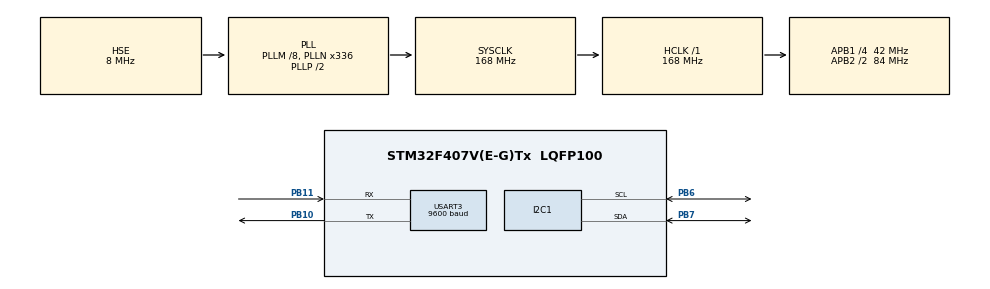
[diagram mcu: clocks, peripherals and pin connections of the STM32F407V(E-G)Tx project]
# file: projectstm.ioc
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Dma.I2C1_RX.0.Direction=DMA_PERIPH_TO_MEMORY
Dma.I2C1_RX.0.FIFOMode=DMA_FIFOMODE_DISABLE
Dma.I2C1_RX.0.Instance=DMA1_Stream0
Dma.I2C1_RX.0.MemDataAlignment=DMA_MDATAALIGN_BYTE
Dma.I2C1_RX.0.MemInc=DMA_MINC_ENABLE
Dma.I2C1_RX.0.Mode=DMA_NORMAL
Dma.I2C1_RX.0.PeriphDataAlignment=DMA_PDATAALIGN_BYTE
Dma.I2C1_RX.0.PeriphInc=DMA_PINC_DISABLE
Dma.I2C1_RX.0.Priority=DMA_PRIORITY_MEDIUM
Dma.I2C1_TX.1.Direction=DMA_MEMORY_TO_PERIPH
Dma.I2C1_TX.1.FIFOMode=DMA_FIFOMODE_DISABLE
Dma.I2C1_TX.1.Instance=DMA1_Stream6
Dma.I2C1_TX.1.MemDataAlignment=DMA_MDATAALIGN_BYTE
Dma.I2C1_TX.1.MemInc=DMA_MINC_ENABLE
Dma.I2C1_TX.1.Mode=DMA_NORMAL
Dma.I2C1_TX.1.PeriphDataAlignment=DMA_PDATAALIGN_BYTE
Dma.I2C1_TX.1.PeriphInc=DMA_PINC_DISABLE
Dma.I2C1_TX.1.Priority=DMA_PRIORITY_HIGH
Dma.Request0=I2C1_RX
Dma.Request1=I2C1_TX
Dma.Request2=USART3_TX
Dma.USART3_TX.2.Direction=DMA_MEMORY_TO_PERIPH
Dma.USART3_TX.2.FIFOMode=DMA_FIFOMODE_DISABLE
Dma.USART3_TX.2.Instance=DMA1_Stream3
Dma.USART3_TX.2.MemDataAlignment=DMA_MDATAALIGN_BYTE
Dma.USART3_TX.2.MemInc=DMA_MINC_ENABLE
Dma.USART3_TX.2.Mode=DMA_NORMAL
Dma.USART3_TX.2.PeriphDataAlignment=DMA_PDATAALIGN_BYTE
Dma.USART3_TX.2.PeriphInc=DMA_PINC_DISABLE
Dma.USART3_TX.2.Priority=DMA_PRIORITY_MEDIUM
I2C1.I2C_Mode=I2C_Fast
Mcu.Family=STM32F4
Mcu.Name=STM32F407V(E-G)Tx
Mcu.Package=LQFP100
NVIC.DMA1_Stream0_IRQn=true\:0\:0\:false\:false\:true\:false\:true\:true
NVIC.DMA1_Stream3_IRQn=true\:0\:0\:false\:false\:true\:false\:true\:true
NVIC.DMA1_Stream6_IRQn=true\:0\:0\:false\:false\:true\:false\:true\:true
NVIC.PriorityGroup=NVIC_PRIORITYGROUP_0
NVIC.TIM2_IRQn=true\:0\:0\:false\:false\:true\:true\:true\:true
PB10.Mode=Asynchronous
PB10.Signal=USART3_TX
PB11.Mode=Asynchronous
PB11.Signal=USART3_RX
PB6.Mode=I2C
PB6.Signal=I2C1_SCL
PB7.Mode=I2C
PB7.Signal=I2C1_SDA
PH0-OSC_IN.Mode=HSE-External-Oscillator
PH0-OSC_IN.Signal=RCC_OSC_IN
PH1-OSC_OUT.Mode=HSE-External-Oscillator
PH1-OSC_OUT.Signal=RCC_OSC_OUT
ProjectManager.HeapSize=0x200
ProjectManager.StackSize=0x400
ProjectManager.TargetToolchain=STM32CubeIDE
RCC.48MHZClocksFreq_Value=48000000
RCC.AHBFreq_Value=168000000
RCC.APB1CLKDivider=RCC_HCLK_DIV4
RCC.APB1Freq_Value=42000000
RCC.APB1TimFreq_Value=84000000
RCC.APB2CLKDivider=RCC_HCLK_DIV2
RCC.APB2Freq_Value=84000000
RCC.APB2TimFreq_Value=168000000
RCC.CortexFreq_Value=168000000
RCC.HCLKFreq_Value=168000000
RCC.HSE_VALUE=8000000
RCC.HSI_VALUE=16000000
RCC.LSE_VALUE=32768
RCC.PLLM=8
RCC.PLLN=336
RCC.PLLQ=7
RCC.PLLSourceVirtual=RCC_PLLSOURCE_HSE
RCC.SYSCLKFreq_VALUE=168000000
RCC.SYSCLKSource=RCC_SYSCLKSOURCE_PLLCLK
RCC.VCOOutputFreq_Value=336000000
TIM2.Period=99
TIM2.Prescaler=83999
USART3.BaudRate=9600
USART3.VirtualMode=VM_ASYNC
VP_TIM2_VS_ClockSourceINT.Mode=Internal
board=STM32F407G-DISC1

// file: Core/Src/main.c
/* USER CODE BEGIN Header */
/**
  ******************************************************************************
  * @file           : main.c
  * @brief          : Main program body
  ******************************************************************************
  * @attention
  *
  * <h2><center>&copy; Copyright (c) 2020 STMicroelectronics.
  * All rights reserved.</center></h2>
  *
  * This software component is licensed by ST under Ultimate Liberty license
  * SLA0044, the "License"; You may not use this file except in compliance with
  * the License. You may obtain a copy of the License at:
  *                             www.st.com/SLA0044
  *
  ******************************************************************************
  */
/* USER CODE END Header */

#include "main.h"

/* USER CODE BEGIN Includes */
#include "BMP180.h"
#include "ssd1306.h"
#include "stdio.h"

/* USER CODE END Includes */

I2C_HandleTypeDef hi2c1;
DMA_HandleTypeDef hdma_i2c1_rx;
DMA_HandleTypeDef hdma_i2c1_tx;

TIM_HandleTypeDef htim2;

UART_HandleTypeDef huart3;
DMA_HandleTypeDef hdma_usart3_tx;

/* USER CODE BEGIN PV */
volatile uint8_t read_sensor_flag = 0; // Flag to trigger sensor read
volatile uint8_t update_display_flag = 0; // Flag to trigger display update
volatile uint16_t timer_counter = 0; // Counter for timing tasks
// Timer interrupt callback
void HAL_TIM_PeriodElapsedCallback(TIM_HandleTypeDef *htim) {
    if (htim->Instance == TIM2) {
        timer_counter++;

        // Schedule sensor read every 100 ms
        if (timer_counter % 100 == 0) {
            read_sensor_flag = 1;
        }

        // Schedule display update every 500 ms
        if (timer_counter % 500 == 0) {
            update_display_flag = 1;
        }
    }
}

/* USER CODE END PV */

void SystemClock_Config(void);
static void MX_GPIO_Init(void);
static void MX_DMA_Init(void);
static void MX_I2C1_Init(void);
static void MX_USART3_UART_Init(void);
static void MX_TIM2_Init(void);

/* USER CODE BEGIN 0 */

float Temperature = 0;
float Pressure = 0;
float Altitude = 0;

char Temperature1[10];
char Pressure1[10];
char Altitude1[10];

/* USER CODE END 0 */

int main(void)
{

  /* MCU Configuration--------------------------------------------------------*/

  /* Reset of all peripherals, Initializes the Flash interface and the Systick. */
  HAL_Init();

  /* Configure the system clock */
  SystemClock_Config();

  /* Initialize all configured peripherals */
  MX_GPIO_Init();
  MX_DMA_Init();
  MX_I2C1_Init();
  MX_USART3_UART_Init();
  MX_TIM2_Init();
  /* USER CODE BEGIN 2 */
  HAL_TIM_Base_Start_IT(&htim2);

  BMP180_Start();

  SSD1306_Init();

  SSD1306_GotoXY (35,0);
  SSD1306_Puts ("BMP180", &Font_11x18, 1);
  SSD1306_GotoXY (10,20);
  SSD1306_Puts ("Barometric", &Font_11x18, 1);
  SSD1306_GotoXY (30,40);
  SSD1306_Puts ("Sensor", &Font_11x18, 1);
  SSD1306_GotoXY (20,40);
  SSD1306_UpdateScreen(); //display
  HAL_Delay(2000);
  SSD1306_Clear();

  /* USER CODE END 2 */

  /* Infinite loop */
  while (1) {

      /* USER CODE BEGIN 3 */

      // Check if sensor read is scheduled
      if (read_sensor_flag) {
          read_sensor_flag = 0; // Reset flag

          // Read sensor data
          Temperature = BMP180_GetTemp();
          Pressure = BMP180_GetPress(0);
          Altitude = BMP180_GetAlt(0);

          // Send data over UART using DMA
          char buffer[100];
          sprintf(buffer, "Temperature: %.2f C, Pressure: %.2f Pa, Altitude: %.2f m\n\r", Temperature, Pressure, Altitude);
          HAL_UART_Transmit_DMA(&huart3, (uint8_t*)buffer, strlen(buffer));
      }

      // Check if display update is scheduled
      if (update_display_flag) {
          update_display_flag = 0; // Reset flag

          // Cycle through display screens (Temperature, Pressure, Altitude)
          static uint8_t display_state = 0;
          switch (display_state) {
              case 0: // Temperature
                  SSD1306_GotoXY(35, 0);
                  SSD1306_Puts("BMP180", &Font_11x18, 1);
                  SSD1306_GotoXY(0, 0);
                  SSD1306_Puts("Temperature", &Font_11x18, 1);
                  SSD1306_GotoXY(20, 40);
                  sprintf(Temperature1, "%.2f", Temperature);
                  SSD1306_Puts(Temperature1, &Font_11x18, 1);
                  SSD1306_DrawCircle(80, 40, 2, 1);
                  SSD1306_GotoXY(85, 40);
                  SSD1306_Puts("C", &Font_11x18, 1);
                  SSD1306_UpdateScreen();
                  display_state = 1;
                  break;

              case 1: // Pressure
                  SSD1306_Clear();
                  SSD1306_GotoXY(20, 0);
                  SSD1306_Puts("Pressure", &Font_11x18, 1);
                  SSD1306_GotoXY(10, 40);
                  sprintf(Pressure1, "%.2f", Pressure);
                  SSD1306_Puts(Pressure1, &Font_11x18, 1);
                  SSD1306_GotoXY(100, 40);
                  SSD1306_Puts("Pa", &Font_11x18, 1);
                  SSD1306_UpdateScreen();
                  display_state = 2;
                  break;

              case 2: // Altitude
                  SSD1306_Clear();
                  SSD1306_GotoXY(20, 0);
                  SSD1306_Puts("Altitude", &Font_11x18, 1);
                  SSD1306_GotoXY(15, 40);
                  sprintf(Altitude1, "%.2f", Altitude);
                  SSD1306_Puts(Altitude1, &Font_11x18, 1);
                  SSD1306_GotoXY(90, 40);
                  SSD1306_Puts("m", &Font_11x18, 1);
                  SSD1306_UpdateScreen();
                  display_state = 0;
                  break;
          }
      }
  }
  /* USER CODE END 3 */
}

void SystemClock_Config(void)
{
  RCC_OscInitTypeDef RCC_OscInitStruct = {0};
  RCC_ClkInitTypeDef RCC_ClkInitStruct = {0};

  /** Configure the main internal regulator output voltage
  */
  __HAL_RCC_PWR_CLK_ENABLE();
  __HAL_PWR_VOLTAGESCALING_CONFIG(PWR_REGULATOR_VOLTAGE_SCALE1);
  /** Initializes the CPU, AHB and APB busses clocks
  */
  RCC_OscInitStruct.OscillatorType = RCC_OSCILLATORTYPE_HSE;
  RCC_OscInitStruct.HSEState = RCC_HSE_ON;
  RCC_OscInitStruct.PLL.PLLState = RCC_PLL_ON;
  RCC_OscInitStruct.PLL.PLLSource = RCC_PLLSOURCE_HSE;
  RCC_OscInitStruct.PLL.PLLM = 8;
  RCC_OscInitStruct.PLL.PLLN = 336;
  RCC_OscInitStruct.PLL.PLLP = RCC_PLLP_DIV2;
  RCC_OscInitStruct.PLL.PLLQ = 7;
  if (HAL_RCC_OscConfig(&RCC_OscInitStruct) != HAL_OK)
  {
    Error_Handler();
  }
  /** Initializes the CPU, AHB and APB busses clocks
  */
  RCC_ClkInitStruct.ClockType = RCC_CLOCKTYPE_HCLK|RCC_CLOCKTYPE_SYSCLK
                              |RCC_CLOCKTYPE_PCLK1|RCC_CLOCKTYPE_PCLK2;
  RCC_ClkInitStruct.SYSCLKSource = RCC_SYSCLKSOURCE_PLLCLK;
  RCC_ClkInitStruct.AHBCLKDivider = RCC_SYSCLK_DIV1;
  RCC_ClkInitStruct.APB1CLKDivider = RCC_HCLK_DIV4;
  RCC_ClkInitStruct.APB2CLKDivider = RCC_HCLK_DIV2;

  if (HAL_RCC_ClockConfig(&RCC_ClkInitStruct, FLASH_LATENCY_5) != HAL_OK)
  {
    Error_Handler();
  }
}

static void MX_I2C1_Init(void)
{

  hi2c1.Instance = I2C1;
  hi2c1.Init.ClockSpeed = 400000;
  hi2c1.Init.DutyCycle = I2C_DUTYCYCLE_2;
  hi2c1.Init.OwnAddress1 = 0;
  hi2c1.Init.AddressingMode = I2C_ADDRESSINGMODE_7BIT;
  hi2c1.Init.DualAddressMode = I2C_DUALADDRESS_DISABLE;
  hi2c1.Init.OwnAddress2 = 0;
  hi2c1.Init.GeneralCallMode = I2C_GENERALCALL_DISABLE;
  hi2c1.Init.NoStretchMode = I2C_NOSTRETCH_DISABLE;
  if (HAL_I2C_Init(&hi2c1) != HAL_OK)
  {
    Error_Handler();
  }

}

static void MX_TIM2_Init(void)
{

  TIM_ClockConfigTypeDef sClockSourceConfig = {0};
  TIM_MasterConfigTypeDef sMasterConfig = {0};

  htim2.Instance = TIM2;
  htim2.Init.Prescaler = 83999;
  htim2.Init.CounterMode = TIM_COUNTERMODE_UP;
  htim2.Init.Period = 99;
  htim2.Init.ClockDivision = TIM_CLOCKDIVISION_DIV1;
  htim2.Init.AutoReloadPreload = TIM_AUTORELOAD_PRELOAD_DISABLE;
  if (HAL_TIM_Base_Init(&htim2) != HAL_OK)
  {
    Error_Handler();
  }
  sClockSourceConfig.ClockSource = TIM_CLOCKSOURCE_INTERNAL;
  if (HAL_TIM_ConfigClockSource(&htim2, &sClockSourceConfig) != HAL_OK)
  {
    Error_Handler();
  }
  sMasterConfig.MasterOutputTrigger = TIM_TRGO_RESET;
  sMasterConfig.MasterSlaveMode = TIM_MASTERSLAVEMODE_DISABLE;
  if (HAL_TIMEx_MasterConfigSynchronization(&htim2, &sMasterConfig) != HAL_OK)
  {
    Error_Handler();
  }

}

static void MX_USART3_UART_Init(void)
{

  huart3.Instance = USART3;
  huart3.Init.BaudRate = 9600;
  huart3.Init.WordLength = UART_WORDLENGTH_8B;
  huart3.Init.StopBits = UART_STOPBITS_1;
  huart3.Init.Parity = UART_PARITY_NONE;
  huart3.Init.Mode = UART_MODE_TX_RX;
  huart3.Init.HwFlowCtl = UART_HWCONTROL_NONE;
  huart3.Init.OverSampling = UART_OVERSAMPLING_16;
  if (HAL_UART_Init(&huart3) != HAL_OK)
  {
    Error_Handler();
  }

}

static void MX_DMA_Init(void)
{

  /* DMA controller clock enable */
  __HAL_RCC_DMA1_CLK_ENABLE();

  /* DMA interrupt init */
  /* DMA1_Stream0_IRQn interrupt configuration */
  HAL_NVIC_SetPriority(DMA1_Stream0_IRQn, 0, 0);
  HAL_NVIC_EnableIRQ(DMA1_Stream0_IRQn);
  /* DMA1_Stream3_IRQn interrupt configuration */
  HAL_NVIC_SetPriority(DMA1_Stream3_IRQn, 0, 0);
  HAL_NVIC_EnableIRQ(DMA1_Stream3_IRQn);
  /* DMA1_Stream6_IRQn interrupt configuration */
  HAL_NVIC_SetPriority(DMA1_Stream6_IRQn, 0, 0);
  HAL_NVIC_EnableIRQ(DMA1_Stream6_IRQn);

}

static void MX_GPIO_Init(void)
{

  /* GPIO Ports Clock Enable */
  __HAL_RCC_GPIOH_CLK_ENABLE();
  __HAL_RCC_GPIOB_CLK_ENABLE();

}

void Error_Handler(void)
{
}

/************************ (C) COPYRIGHT STMicroelectronics *****END OF FILE****/
